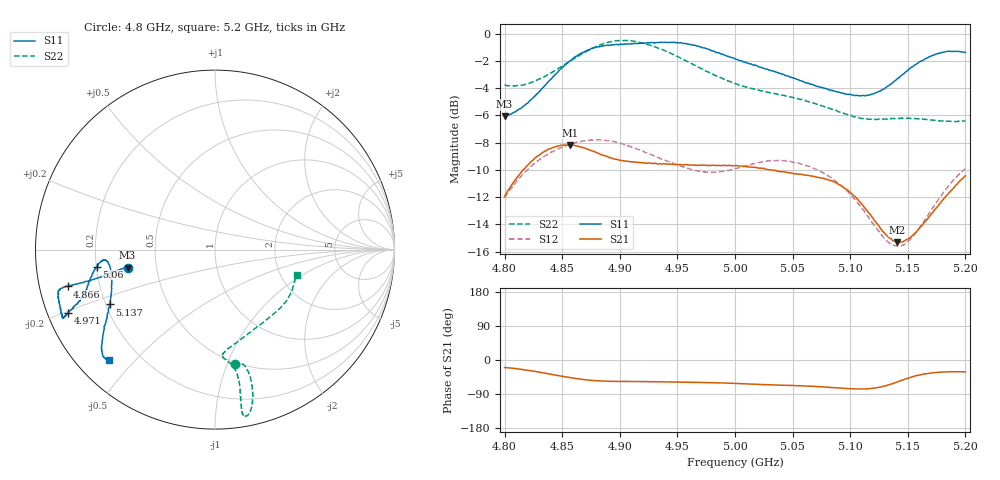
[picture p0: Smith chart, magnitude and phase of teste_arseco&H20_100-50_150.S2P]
! Network Analyzer HP8722D
! Hewlett-Packard
! Data name: Linha & Wilkinson
! Saver's name: Rodrigo Anjos
! Comments: Teste da utilização de aquisição
! continua pelo VNA HP8722D
! Time and date: 6/5/2025 13:49
!  Frequency  S11  S21  S12  S22
# HZ  S  MA R 50
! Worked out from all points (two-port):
!   401 points, 4.8 GHz to 5.2 GHz, reference 50 ohm
!   highest |S21| = -8.17 dB at 4.857 GHz (marker M1); lowest = -15.3 dB at 5.141 GHz (marker M2)
!   |S21| within 3 dB of the highest: 4.806 GHz to 5.092 GHz (286.5 MHz wide, 5.79 % of centre); 5.191406 GHz to end of sweep
!   lowest |S11| = -6.1 dB at 4.8 GHz (marker M3), VSWR 2.98, Z = 16.9 - j4.55 ohm
!   |S11| at or under -10 dB: nowhere
!   |S22| runs from -6.5 to -0.5 dB; largest |S21 - S12| = 0.62
!   S11 on the Smith chart (normalised r, x): 4.8 GHz: 0.34, -0.09; 4.866 GHz: 0.08, -0.12; 4.971 GHz: 0.06, -0.21; 5.06 GHz: 0.20, -0.07; 5.137 GHz: 0.22, -0.23; 5.2 GHz: 0.09, -0.42
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4.8e9  0.4978 -168.3  0.2532 -19.9  0.25 -141.0  0.6491 -80.3
4.828e9  0.6019 -167.2  0.3542 -31.0  0.3395 -145.1  0.6755 -75.4
4.857e9  0.7963 -166.1  0.3906 -46.5  0.3929 -150.5  0.794 -74.8
4.866e9  0.846 -165.9  0.3833 -50.5  0.4019 -152.1  0.8376 -75.4
4.867e9  0.8501 -166.0  0.3833 -51.1  0.4026 -152.3  0.843 -75.6
4.879e9  0.8914 -165.8  0.367 -54.5  0.4075 -154.2  0.8938 -76.7
4.899e9  0.9102 -163.1  0.3442 -56.7  0.397 -156.9  0.9436 -79.2
4.934e9  0.929 -156.5  0.3326 -57.6  0.3507 -155.7  0.8821 -80.5
4.971e9  0.8924 -156.6  0.3288 -59.4  0.3116 -146.6  0.7436 -79.7
5e9  0.809 -159.2  0.3278 -61.9  0.3195 -137.4  0.6561 -81.3
5.036e9  0.7221 -165.8  0.314 -66.0  0.3418 -134.6  0.6012 -85.6
5.06e9  0.6646 -171.8  0.3028 -68.3  0.3301 -136.3  0.5687 -84.2
5.067e9  0.6512 -173.1  0.3008 -69.2  0.3229 -136.9  0.5574 -82.7
5.084e9  0.6209 -174.8  0.2887 -72.7  0.2948 -138.5  0.5283 -76.2
5.101e9  0.5973 -172.2  0.2594 -75.9  0.2544 -138.9  0.5009 -66.4
5.116e9  0.5952 -165.6  0.2202 -75.9  0.2116 -135.5  0.4849 -55.7
5.134e9  0.6467 -154.3  0.1777 -65.1  0.1704 -120.6  0.4874 -43.2
5.137e9  0.6613 -152.5  0.1736 -62.1  0.1675 -116.7  0.4884 -41.4
5.141e9  0.6838 -150.2  0.1713 -57.6  0.1659 -111.4  0.4887 -39.1
5.154e9  0.7567 -144.6  0.1817 -44.4  0.1793 -95.0  0.4881 -32.3
5.173e9  0.8369 -139.2  0.2244 -33.5  0.2339 -80.8  0.4813 -24.3
5.2e9  0.8531 -133.8  0.3008 -31.6  0.3195 -77.1  0.478 -17.6
